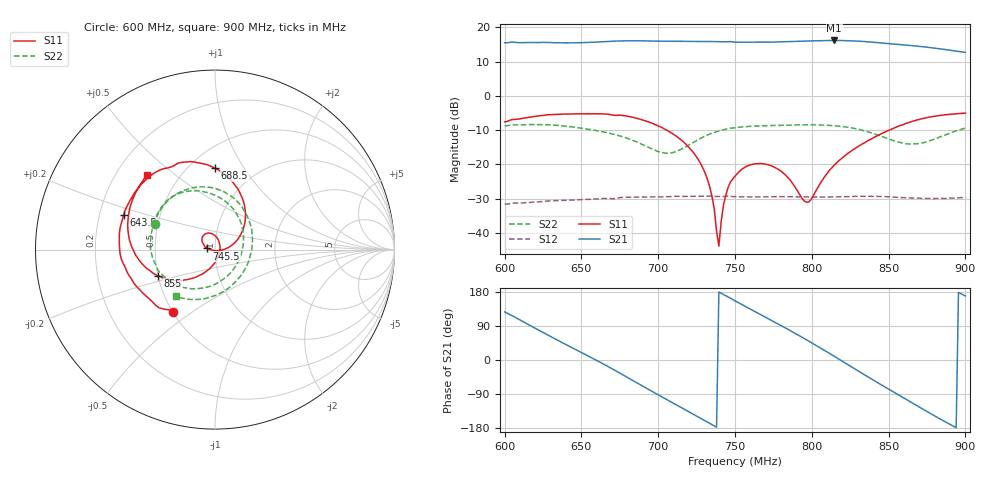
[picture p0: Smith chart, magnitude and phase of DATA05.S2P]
! Network Analyzer HP8722ES.07.74: Oct 30, 2002 Serial No. US39175660
! Hewlett-Packard
!  1 Jun 2012  09:57:16
! Frequency  S11  S21  S12  S22
# HZ  S  DB R  50
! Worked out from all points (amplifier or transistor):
!   201 points, 600 MHz to 900 MHz, reference 50 ohm
!   highest |S21| = 16.2 dB at 814.5 MHz (marker M1)
!   |S21| within 3 dB of that: start of sweep to 892.2 MHz
!   unconditionally stable (mu >= 1): start of sweep to end of sweep
!   at 649.5 MHz: K = 1.62, MAG = 18.3 dB, |S12| = -30.3 dB
!   at 750 MHz: K = 2.26, MAG = 16.3 dB, |S12| = -29.5 dB
!   at 900 MHz: K = 2.27, MAG = 14.9 dB, |S12| = -29.8 dB
!   S11 on the Smith chart (normalised r, x): 600 MHz: 0.50, -0.42; 643.5 MHz: 0.30, +0.17; 688.5 MHz: 0.66, +0.75; 745.5 MHz: 0.91, +0.01; 855 MHz: 0.50, -0.17; 900 MHz: 0.33, +0.40
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6e8  -7.58 -123.7  15.52 127.0  -31.63 -4.4  -8.77 157.0
6.21e8  -5.91 -166.2  15.58 81.4  -30.99 -44.0  -8.37 135.7
6.435e8  -5.28 159.1  15.51 33.4  -30.42 -90.2  -9.03 112.2
6.51e8  -5.24 148.9  15.57 17.7  -30.31 -105.1  -9.49 103.9
6.705e8  -5.62 119.3  15.99 -24.3  -30.10 -145.8  -11.17 78.8
6.885e8  -6.85 90.1  16.10 -65.7  -29.57 176.0  -13.95 42.1
7.005e8  -8.85 69.3  16.01 -93.1  -29.49 150.3  -16.35 0.1
7.125e8  -12.02 47.4  15.96 -119.9  -29.36 124.3  -16.10 -57.5
7.26e8  -18.55 19.6  15.94 -150.3  -29.32 95.4  -12.81 -109.7
7.395e8  -43.92 -119.0  15.84 179.4  -29.39 66.0  -10.25 -145.3
7.455e8  -26.76 172.1  15.85 166.4  -29.29 53.5  -9.56 -157.4
7.5e8  -23.47 157.0  15.71 156.1  -29.46 43.4  -9.32 -166.4
7.65e8  -19.80 125.3  15.69 123.7  -29.54 11.9  -8.80 171.3
7.77e8  -21.16 98.4  15.76 97.5  -29.48 -13.3  -8.63 157.5
7.89e8  -26.57 60.3  15.93 70.8  -29.48 -38.4  -8.50 144.1
8.01e8  -29.14 -50.2  16.10 42.9  -29.56 -63.8  -8.46 129.7
8.145e8  -20.30 -101.3  16.20 10.1  -29.51 -91.6  -8.71 110.3
8.295e8  -14.96 -123.1  16.02 -27.2  -29.36 -123.5  -9.66 82.8
8.505e8  -9.99 -148.9  15.25 -78.1  -29.48 -169.6  -12.61 29.5
8.55e8  -9.14 -155.1  15.10 -88.6  -29.60 -179.3  -13.29 15.0
8.775e8  -6.12 168.4  14.11 -141.9  -29.95 134.9  -13.00 -67.7
9e8  -5.02 132.5  12.73 168.9  -29.76 90.2  -9.41 -129.8
